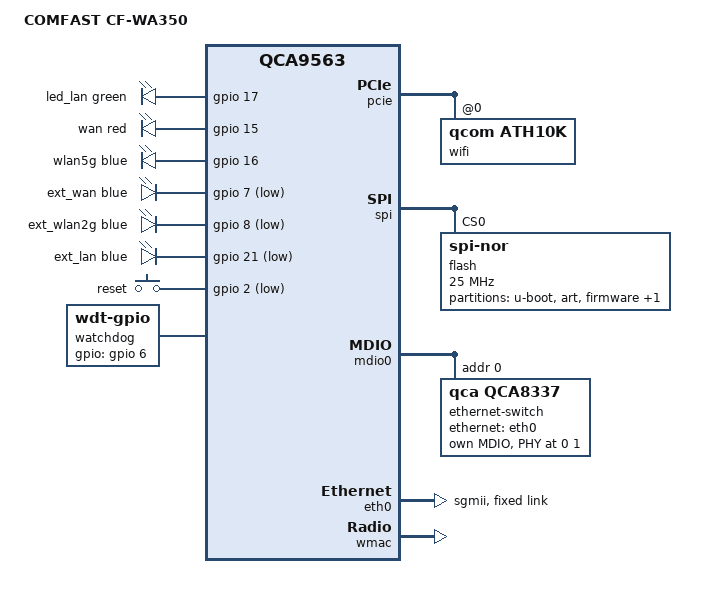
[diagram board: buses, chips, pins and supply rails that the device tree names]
// SPDX-License-Identifier: GPL-2.0-or-later OR MIT
//
// COMFAST CF-WA350 — نسخة DSA (qca8k)
// النمط مبني على PR #24999 (MikroTik RB2011 DSA conversion by neheb)
// مع استخراج خصائص SGMII الدقيقة من initvals الأصلية:
//   0x04 0x00080080 = BIT(7) SGMII_EN + BIT(19) SGMII_RXCLK_FALLING_EDGE

#include "qca956x.dtsi"

#include <dt-bindings/gpio/gpio.h>
#include <dt-bindings/input/input.h>
#include <dt-bindings/leds/common.h>

/ {
    model = "COMFAST CF-WA350";
    compatible = "comfast,cf-wa350", "qca,qca9563";

    aliases {
        label-mac-device = &eth0;
        led-boot = &led_lan;
        led-failsafe = &led_lan;
        led-running = &led_lan;
        led-upgrade = &led_lan;
    };

    leds {
        compatible = "gpio-leds";

        led_lan: lan {
            color = <LED_COLOR_ID_GREEN>;
            function = LED_FUNCTION_LAN;
            gpios = <&gpio 17 GPIO_ACTIVE_HIGH>;
        };

        wan {
            color = <LED_COLOR_ID_RED>;
            function = LED_FUNCTION_WAN;
            gpios = <&gpio 15 GPIO_ACTIVE_HIGH>;
        };

        wlan5g {
            color = <LED_COLOR_ID_BLUE>;
            function = LED_FUNCTION_WLAN_5GHZ;
            gpios = <&gpio 16 GPIO_ACTIVE_HIGH>;
        };

        ext_wan {
            color = <LED_COLOR_ID_BLUE>;
            function = "ext-wan";
            gpios = <&gpio 7 GPIO_ACTIVE_LOW>;
        };

        ext_wlan2g {
            color = <LED_COLOR_ID_BLUE>;
            function = "ext-wlan2g";
            gpios = <&gpio 8 GPIO_ACTIVE_LOW>;
        };

        ext_lan {
            color = <LED_COLOR_ID_BLUE>;
            function = "ext-lan";
            gpios = <&gpio 21 GPIO_ACTIVE_LOW>;
        };
    };

    keys {
        compatible = "gpio-keys";

        reset {
            linux,code = <KEY_RESTART>;
            gpios = <&gpio 2 GPIO_ACTIVE_LOW>;
            debounce-interval = <60>;
        };
    };

    watchdog {
        compatible = "linux,wdt-gpio";
        gpios = <&gpio 6 GPIO_ACTIVE_HIGH>;
        hw_algo = "toggle";
        hw_margin_ms = <1000>;
        always-running;
    };
};

&pcie {
    status = "okay";

    wifi@0,0 {
        compatible = "qcom,ath10k";
        reg = <0x0000 0 0 0 0>;
        nvmem-cells = <&precal_art_5000>, <&macaddr_art_0 2>;
        nvmem-cell-names = "pre-calibration", "mac-address";
    };
};

&spi {
    status = "okay";

    flash@0 {
        compatible = "jedec,spi-nor";
        reg = <0>;
        spi-max-frequency = <25000000>;

        partitions {
            compatible = "fixed-partitions";
            #address-cells = <1>;
            #size-cells = <1>;

            partition@0 {
                label = "u-boot";
                reg = <0x000000 0x040000>;
                read-only;
            };

            partition@40000 {
                label = "art";
                reg = <0x040000 0x010000>;
                read-only;

                nvmem-layout {
                    compatible = "fixed-layout";
                    #address-cells = <1>;
                    #size-cells = <1>;

                    macaddr_art_0: macaddr@0 {
                        compatible = "mac-base";
                        reg = <0x0 0x6>;
                        #nvmem-cell-cells = <1>;
                    };

                    cal_art_1000: calibration@1000 {
                        reg = <0x1000 0x440>;
                    };

                    precal_art_5000: pre-calibration@5000 {
                        reg = <0x5000 0x2f20>;
                    };
                };
            };

            partition@50000 {
                compatible = "denx,uimage";
                label = "firmware";
                reg = <0x050000 0xfa0000>;
            };

            partition@ff0000 {
                label = "art-backup";
                reg = <0xff0000 0x010000>;
                read-only;
            };
        };
    };
};

//=============================================================================
// DSA: السويتش QCA8337 (المعروف لـ ar8216 باسم AR8337 rev 2)
// PHY ID = 0x004dd036 = QCA8337 في سائق qca8k
// المنفذ 0 = CPU عبر SGMII ، المنفذ 1 = فتحة WAN ، المنفذ 2 = فتحة LAN
//=============================================================================
&mdio0 {
    status = "okay";

    ethernet-switch@10 {
        compatible = "qca,qca8337";
        reg = <0>;

        mdio {
            #address-cells = <1>;
            #size-cells = <0>;

            internal_phy_port1: ethernet-phy@0 {
                reg = <0>;
            };

            internal_phy_port2: ethernet-phy@1 {
                reg = <1>;
            };
        };

        ethernet-ports {
            #address-cells = <1>;
            #size-cells = <0>;

            ethernet-port@0 {
                reg = <0>;
                label = "cpu";
                ethernet = <&eth0>;
                phy-mode = "sgmii";

                /* QCA8337 rev 2 مع SGMII: موصى به رسمياً في الوثائق */
                qca,sgmii-enable-pll;
                /* مستخرج من initvals الأصلية: 0x04 0x00080080 → BIT(19) */
                qca,sgmii-rxclk-falling-edge;

                fixed-link {
                    speed = <1000>;
                    full-duplex;
                };
            };

            ethernet-port@1 {
                reg = <1>;
                label = "wan";
                phy-handle = <&internal_phy_port1>;
            };

            ethernet-port@2 {
                reg = <2>;
                label = "lan";
                phy-handle = <&internal_phy_port2>;
            };
        };
    };
};

&wdt {
    status = "disabled";
};

&eth0 {
    status = "okay";

    pll-data = <0x03000101 0x00000101 0x00001919>;

    phy-mode = "sgmii";
    nvmem-cells = <&macaddr_art_0 0>;
    nvmem-cell-names = "mac-address";

    /* DSA master: وصلة ثابتة نحو منفذ CPU في السويتش (بدون phy-handle) */
    fixed-link {
        speed = <1000>;
        full-duplex;
    };
};

&wmac {
    status = "okay";

    nvmem-cells = <&macaddr_art_0 10>, <&cal_art_1000>;
    nvmem-cell-names = "mac-address", "calibration";
};
